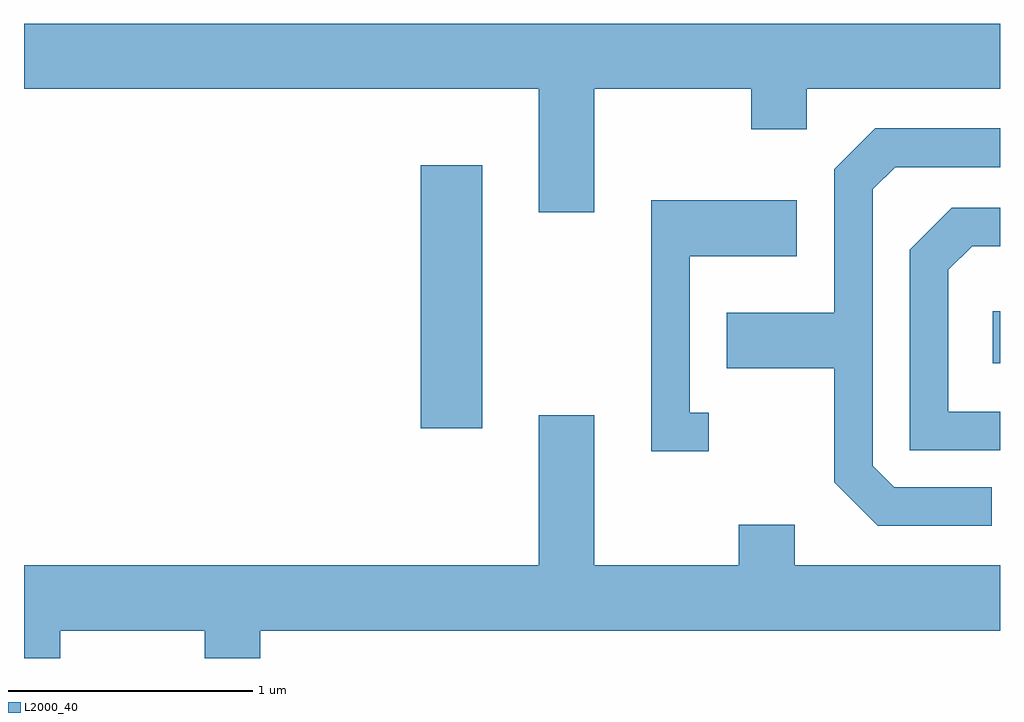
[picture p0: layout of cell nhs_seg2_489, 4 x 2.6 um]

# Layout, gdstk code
import gdstk
lib = gdstk.Library(unit=1e-6, precision=1e-09)
def R(c, l, rs):  # rectangles x0, y0, x1, y1
    for r in rs: c.add(gdstk.rectangle(r[:2], r[2:], *l))
def P(c, l, *ps):  # polygons
    for p in ps: c.add(gdstk.Polygon(p, *l))
L2000_40 = (2000, 40)

nhs_seg2_489 = lib.new_cell('nhs_seg2_489')
R(nhs_seg2_489, L2000_40, [(201.236,1004.746,201.489,1005.824), (203.581,1005.011,203.611,1005.224)])
P(nhs_seg2_489, L2000_40, [(201.949,1006.136),(202.591,1006.136),(202.591,1005.971),(202.819,1005.971),(202.819,1006.136),(203.611,1006.136),(203.611,1006.404),(199.611,1006.404),(199.611,1006.136),(201.721,1006.136),(201.721,1005.631),(201.949,1005.631)],
  [(203.578,1004.504),(203.177,1004.504),(203.089,1004.592),(203.089,1005.724),(203.182,1005.816),(203.611,1005.816),(203.611,1005.974),(203.099,1005.974),(202.931,1005.807),(202.931,1005.219),(202.491,1005.219),(202.491,1004.991),(202.931,1004.991),(202.931,1004.524),(203.109,1004.346),(203.578,1004.346)],
  [(202.418,1004.809),(202.339,1004.809),(202.339,1005.451),(202.779,1005.451),(202.779,1005.679),(202.181,1005.679),(202.181,1004.651),(202.418,1004.651)],
  [(203.611,1004.814),(203.399,1004.814),(203.399,1005.394),(203.497,1005.491),(203.611,1005.491),(203.611,1005.649),(203.414,1005.649),(203.241,1005.477),(203.241,1004.656),(203.611,1004.656)],
  [(199.759,1003.916),(200.351,1003.916),(200.351,1003.802),(200.579,1003.802),(200.579,1003.916),(203.611,1003.916),(203.611,1004.184),(202.769,1004.184),(202.769,1004.349),(202.541,1004.349),(202.541,1004.184),(201.949,1004.184),(201.949,1004.799),(201.721,1004.799),(201.721,1004.184),(199.611,1004.184),(199.611,1003.802),(199.759,1003.802)])

lib.write_gds('nhs_seg2_489.gds')
